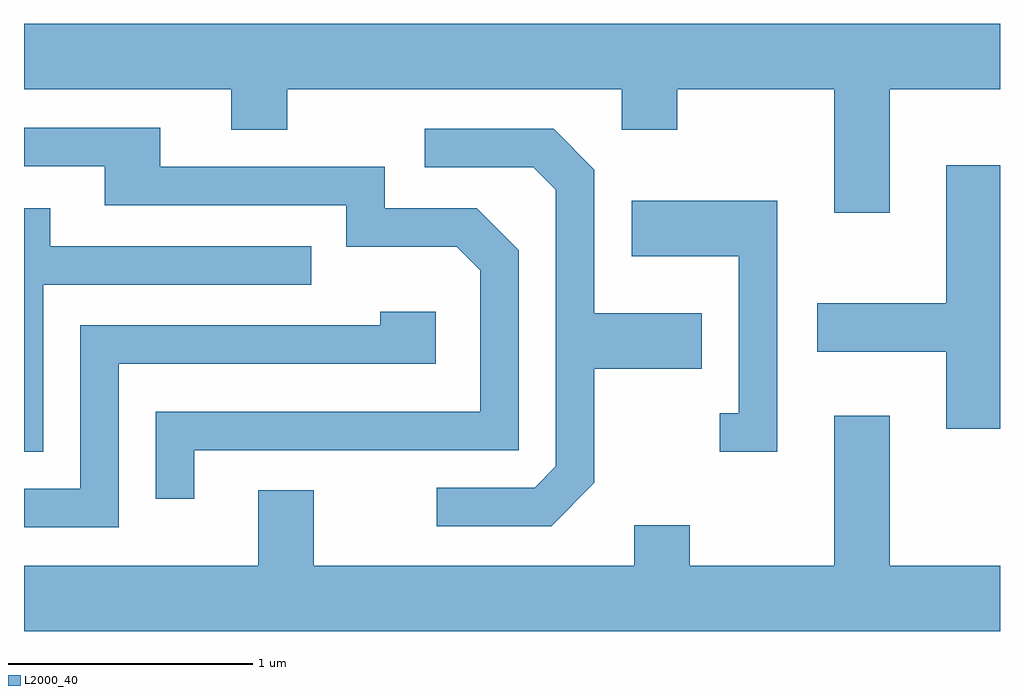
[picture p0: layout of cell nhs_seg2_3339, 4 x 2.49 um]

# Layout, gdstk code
import gdstk
lib = gdstk.Library(unit=1e-6, precision=1e-09)
def P(c, l, *ps):  # polygons
    for p in ps: c.add(gdstk.Polygon(p, *l))
L2000_40 = (2000, 40)

nhs_seg2_3339 = lib.new_cell('nhs_seg2_3339')
P(nhs_seg2_3339, L2000_40, [(287.159,1006.136),(287.611,1006.136),(287.611,1006.404),(283.611,1006.404),(283.611,1006.136),(284.461,1006.136),(284.461,1005.971),(284.689,1005.971),(284.689,1006.136),(286.061,1006.136),(286.061,1005.971),(286.289,1005.971),(286.289,1006.136),(286.931,1006.136),(286.931,1005.631),(287.159,1005.631)],
  [(284.309,1004.656),(285.639,1004.656),(285.639,1005.477),(285.467,1005.649),(285.089,1005.649),(285.089,1005.819),(284.169,1005.819),(284.169,1005.979),(283.611,1005.979),(283.611,1005.821),(283.941,1005.821),(283.941,1005.661),(284.931,1005.661),(284.931,1005.491),(285.384,1005.491),(285.481,1005.394),(285.481,1004.814),(284.151,1004.814),(284.151,1004.458),(284.309,1004.458)],
  [(285.949,1004.524),(285.949,1004.991),(286.389,1004.991),(286.389,1005.219),(285.949,1005.219),(285.949,1005.807),(285.782,1005.974),(285.253,1005.974),(285.253,1005.816),(285.699,1005.816),(285.791,1005.724),(285.791,1004.592),(285.704,1004.504),(285.303,1004.504),(285.303,1004.346),(285.772,1004.346)],
  [(287.611,1005.824),(287.391,1005.824),(287.391,1005.259),(286.861,1005.259),(286.861,1005.061),(287.391,1005.061),(287.391,1004.746),(287.611,1004.746)],
  [(286.699,1005.679),(286.101,1005.679),(286.101,1005.451),(286.541,1005.451),(286.541,1004.809),(286.463,1004.809),(286.463,1004.651),(286.699,1004.651)],
  [(283.689,1005.336),(284.788,1005.336),(284.788,1005.494),(283.719,1005.494),(283.719,1005.649),(283.611,1005.649),(283.611,1004.651),(283.689,1004.651)],
  [(283.999,1005.011),(285.299,1005.011),(285.299,1005.224),(285.071,1005.224),(285.071,1005.169),(283.841,1005.169),(283.841,1004.499),(283.611,1004.499),(283.611,1004.341),(283.999,1004.341)],
  [(287.611,1004.184),(287.159,1004.184),(287.159,1004.799),(286.931,1004.799),(286.931,1004.184),(286.339,1004.184),(286.339,1004.349),(286.111,1004.349),(286.111,1004.184),(284.799,1004.184),(284.799,1004.494),(284.571,1004.494),(284.571,1004.184),(283.611,1004.184),(283.611,1003.916),(287.611,1003.916)])

lib.write_gds('nhs_seg2_3339.gds')
